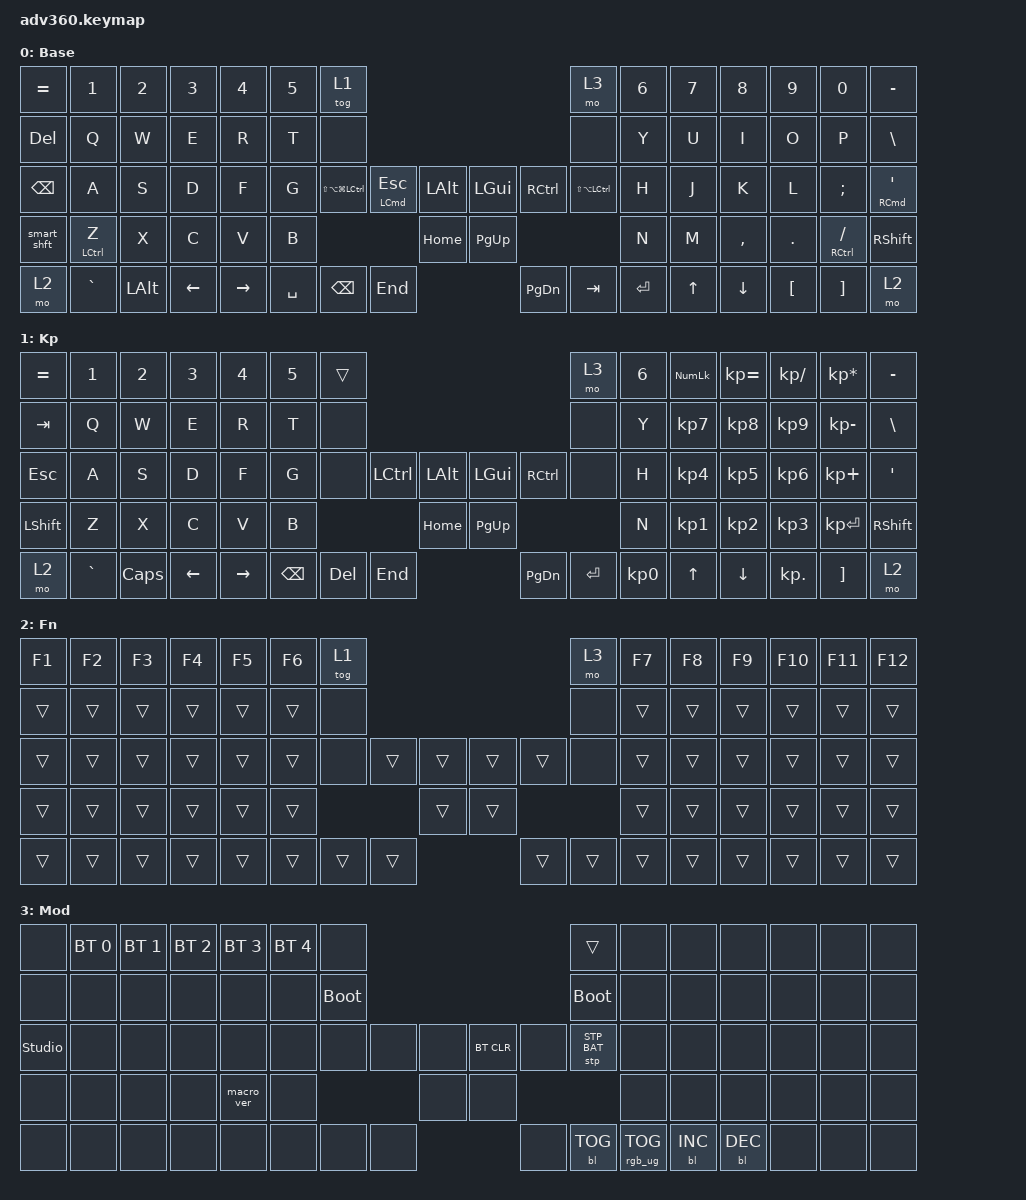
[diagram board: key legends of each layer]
#include <behaviors.dtsi>
#include <dt-bindings/zmk/keys.h>
#include <dt-bindings/zmk/bt.h>
#include <dt-bindings/zmk/rgb.h>
#include <dt-bindings/zmk/stp.h>
#include <dt-bindings/zmk/backlight.h>
#include <dt-bindings/zmk/pointing.h>

#define HYP LS(LA(LG(LEFT_CONTROL)))
#define MEH LS(LA(LEFT_CONTROL))

/ {
    behaviors {
      #include "macros.dtsi"
      #include "version.dtsi"

      hm: homerow_mods {
          compatible = "zmk,behavior-hold-tap";
          label = "HOMEROW_MODS";
          #binding-cells = <2>;
          tapping-term-ms = <200>;
          quick_tap_ms = <175>;
          flavor = "tap-preferred";
          bindings = <&kp>, <&kp>;
      };

      gqt: global-quick-tap {
          compatible = "zmk,behavior-hold-tap";
          label = "GLOBAL_QUICK_TAP";
          #binding-cells = <2>;
          flavor = "tap-preferred";
          tapping-term-ms = <200>;
          quick-tap-ms = <125>;
          global-quick-tap;
          bindings = <&kp>, <&kp>;
      };

      // tap: sticky-shift | shift + tap/ double-tap: caps-word | hold: shift
      smart_shft: smart_shift {
          label = "SMART_SHIFT_CAPS_WORD";
          compatible = "zmk,behavior-mod-morph";
          #binding-cells = <0>;
          bindings = <&sk LSHFT>, <&caps_word>;
          mods = <(MOD_LSFT)>;
      };
    };

  keymap {
    compatible = "zmk,keymap";

    default_layer {
      display-name = "Base";
      bindings = <
        &kp EQUAL &kp N1    &kp N2   &kp N3   &kp N4     &kp N5 &tog 1                                                           &mo 3 &kp N6 &kp N7 &kp N8    &kp N9   &kp N0   &kp MINUS
        &kp DELETE &kp Q     &kp W    &kp E    &kp R      &kp T  &none                                                            &none &kp Y  &kp U  &kp I     &kp O    &kp P    &kp BSLH
        &kp BSPC  &kp A     &kp S    &kp D    &kp F      &kp G  &kp HYP         &mt LEFT_COMMAND ESC &kp LALT &kp LGUI  &kp RCTRL         &kp MEH &kp H  &kp J  &kp K     &kp L    &kp SEMI &gqt RIGHT_COMMAND SQT
        &smart_shft &mt LEFT_CONTROL Z &kp X &kp C &kp V &kp B                            &kp HOME &kp PG_UP                           &kp N  &kp M  &kp COMMA &kp DOT  &mt RIGHT_CONTROL FSLH &kp RSHFT
        &mo 2     &kp GRAVE &kp LEFT_ALT &kp LEFT &kp RIGHT                &kp SPACE &kp BSPC  &kp END  &kp PG_DN &kp TAB   &kp ENTER              &kp UP &kp DOWN  &kp LBKT &kp RBKT &mo 2
      >;
    };
    keypad {
      display-name = "Kp";
      bindings = <
        &kp EQUAL &kp N1    &kp N2   &kp N3   &kp N4     &kp N5 &trans                                                           &mo 3 &kp N6 &kp KP_NUM &kp KP_EQUAL &kp KP_DIVIDE &kp KP_MULTIPLY &kp MINUS
        &kp TAB   &kp Q     &kp W    &kp E    &kp R      &kp T  &none                                                            &none &kp Y  &kp KP_N7  &kp KP_N8    &kp KP_N9     &kp KP_MINUS    &kp BSLH
        &kp ESC   &kp A     &kp S    &kp D    &kp F      &kp G  &none           &kp LCTRL &kp LALT &kp LGUI  &kp RCTRL           &none &kp H  &kp KP_N4  &kp KP_N5    &kp KP_N6     &kp KP_PLUS     &kp SQT
        &kp LSHFT &kp Z     &kp X    &kp C    &kp V      &kp B                            &kp HOME &kp PG_UP                           &kp N  &kp KP_N1  &kp KP_N2    &kp KP_N3     &kp KP_ENTER    &kp RSHFT
        &mo 2     &kp GRAVE &kp CAPS &kp LEFT &kp RIGHT                &kp BSPC &kp DEL   &kp END  &kp PG_DN &kp ENTER &kp KP_N0              &kp UP     &kp DOWN     &kp KP_DOT    &kp RBKT        &mo 2
      >;
    };
    fn {
      display-name = "Fn";
      bindings = <
        &kp F1 &kp F2 &kp F3 &kp F4 &kp F5 &kp F6 &tog 1                                           &mo 3 &kp F7 &kp F8 &kp F9 &kp F10 &kp F11 &kp F12
        &trans &trans &trans &trans &trans &trans  &none                                           &none &trans &trans &trans &trans  &trans  &trans
        &trans &trans &trans &trans &trans &trans  &none        &trans &trans &trans &trans        &none &trans &trans &trans &trans  &trans  &trans
        &trans &trans &trans &trans &trans &trans                      &trans &trans                     &trans &trans &trans &trans  &trans  &trans
        &trans &trans &trans &trans &trans               &trans &trans &trans &trans &trans &trans              &trans &trans &trans  &trans  &trans
      >;
    };
    mod {
      display-name = "Mod";
      bindings = <
        &none &bt BT_SEL 0 &bt BT_SEL 1 &bt BT_SEL 2 &bt BT_SEL 3 &bt BT_SEL 4 &none                                                                     &trans                 &none        &none        &none        &none &none &none
        &none &none        &none        &none        &none        &none        &bootloader                                                               &bootloader            &none        &none        &none        &none &none &none
        &studio_unlock &none        &none        &none        &none        &none        &none                   &none &none &bt BT_CLR &none                      &stp STP_BAT &none        &none        &none        &none &none &none
        &none &none        &none        &none        &macro_ver   &none                                      &none &none                                                        &none        &none        &none        &none &none &none
        &none &none        &none        &none        &none                                       &none &none &none &none      &bl BL_TOG &rgb_ug RGB_TOG                                     &bl BL_INC   &bl BL_DEC   &none &none &none
      >;
    };
    extra1 { 
      display-name = "Red";    
      status = "reserved";
    };

    extra2 { 
      display-name = "Purple";    
      status = "reserved";
    };

    extra3 { 
      display-name = "Cyan";    
      status = "reserved";
    };

    extra4 { 
      display-name = "Yellow";    
      status = "reserved";
    };
  };
};
